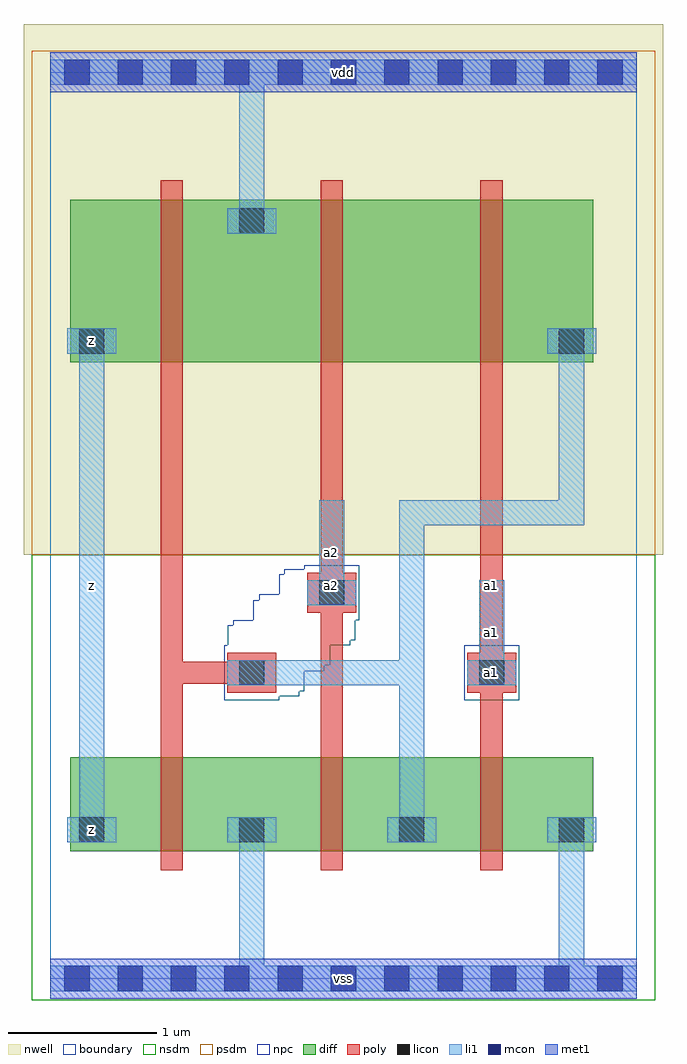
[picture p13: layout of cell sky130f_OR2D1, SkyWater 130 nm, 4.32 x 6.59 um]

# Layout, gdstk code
import gdstk
lib = gdstk.Library(unit=1e-6, precision=1e-09)
def R(c, l, rs):  # rectangles x0, y0, x1, y1
    for r in rs: c.add(gdstk.rectangle(r[:2], r[2:], *l))
def A(c, l, x, y, w, h, nx, ny, dx, dy):  # array of equal rectangles
    R(c, l, [(x+i*dx, y+j*dy, x+i*dx+w, y+j*dy+h) for i in range(nx) for j in range(ny)])
def P(c, l, *ps):  # polygons
    for p in ps: c.add(gdstk.Polygon(p, *l))
L0_0 = (0, 0)
nwell = (64, 20)
diff = (65, 20)
poly = (66, 20)
licon = (66, 44)
li1 = (67, 20)
mcon = (67, 44)
met1 = (68, 20)
nsdm = (93, 44)
psdm = (94, 20)
npc = (95, 20)
boundary = (235, 4)

sky130f_or2d1 = lib.new_cell('sky130f_OR2D1')
R(sky130f_or2d1, nwell, [(-0.18,2.86,4.14,6.445)])
A(sky130f_or2d1, diff, 0.135, 0.86, 1.37, 0.635, 3, 1, 1.08, 0)
A(sky130f_or2d1, diff, 0.135, 0.86, 0.29, 0.29, 4, 1, 1.08, 0)
A(sky130f_or2d1, diff, 0.135, 4.16, 1.37, 1.1, 3, 1, 1.08, 0)
R(sky130f_or2d1, diff, [(0.135,4.16,0.425,4.45), (3.375,4.16,3.665,4.45), (1.215,4.97,1.505,5.26)])
A(sky130f_or2d1, poly, 0.745, 0.73, 0.15, 0.895, 3, 1, 1.08, 0)
A(sky130f_or2d1, poly, 0.745, 4.03, 0.15, 1.36, 3, 1, 1.08, 0)
R(sky130f_or2d1, poly, [(0.745,0.93,0.895,2.14), (1.825,0.93,1.975,4.38), (2.905,0.93,3.055,4.38), (1.195,1.93,1.525,2.2), (2.815,1.93,3.145,2.2), (0.745,1.99,1.435,2.14), (0.745,1.99,0.895,4.38), (1.735,2.47,2.065,2.74)])
A(sky130f_or2d1, licon, 0.195, 0.92, 0.17, 0.17, 4, 1, 1.08, 0)
R(sky130f_or2d1, licon, [(1.275,1.98,1.445,2.15), (2.895,1.98,3.065,2.15), (1.815,2.52,1.985,2.69), (0.195,4.22,0.365,4.39), (3.435,4.22,3.605,4.39), (1.275,5.03,1.445,5.2)])
A(sky130f_or2d1, li1, 0.115, 0.92, 0.33, 0.17, 4, 1, 1.08, 0)
R(sky130f_or2d1, li1, [(0,-0.085,3.96,0.085), (1.275,0.06,1.445,1.09), (3.435,0.06,3.605,1.09), (0.195,0.92,0.365,4.39), (2.355,0.92,2.525,2.15), (1.195,1.98,1.525,2.15), (1.275,1.98,2.525,2.15), (2.355,1.98,2.525,3.23), (2.815,1.98,3.145,2.15), (2.895,1.98,3.065,2.69), (1.735,2.52,2.065,2.69), (1.815,2.52,1.985,3.23), (2.355,3.06,3.605,3.23), (3.435,3.06,3.605,4.39), (0.115,4.22,0.445,4.39), (3.355,4.22,3.685,4.39), (1.195,5.03,1.525,5.2), (1.275,5.03,1.445,6.06), (0,6.035,3.96,6.205)])
A(sky130f_or2d1, mcon, 0.095, -0.085, 0.17, 0.17, 11, 2, 0.36, 6.12)
R(sky130f_or2d1, met1, [(0,-0.135,3.96,0.135), (0,5.985,3.96,6.255)])
R(sky130f_or2d1, nsdm, [(-0.125,-0.145,4.085,0.145), (-0.125,0.145,4.085,2.86)])
R(sky130f_or2d1, psdm, [(-0.125,2.86,4.085,5.975), (-0.125,5.975,4.085,6.265)])
R(sky130f_or2d1, npc, [(2.795,1.88,3.165,2.25)])
P(sky130f_or2d1, npc, [(1.175,1.88),(1.175,2.25),(1.2,2.25),(1.2,2.385),(1.235,2.385),(1.235,2.42),(1.37,2.42),(1.37,2.555),(1.41,2.555),(1.41,2.595),(1.545,2.595),(1.545,2.73),(1.58,2.73),(1.58,2.765),(1.715,2.765),(1.715,2.79),(2.085,2.79),(2.085,2.42),(2.06,2.42),(2.06,2.285),(2.025,2.285),(2.025,2.25),(1.89,2.25),(1.89,2.115),(1.85,2.115),(1.85,2.075),(1.715,2.075),(1.715,1.94),(1.68,1.94),(1.68,1.905),(1.545,1.905),(1.545,1.88)])
R(sky130f_or2d1, boundary, [(0,0,3.96,6.12)])
sky130f_or2d1.add(gdstk.FlexPath([(0.115,0.355),(3.685,0.355)], 0, ends="flush", simple_path=True, layer=0, datatype=0))  # L0_0
sky130f_or2d1.add(gdstk.FlexPath([(0.115,1.005),(3.685,1.005)], 0, ends="flush", simple_path=True, layer=0, datatype=0))  # L0_0
sky130f_or2d1.add(gdstk.FlexPath([(0.115,1.415),(3.685,1.415)], 0, ends="flush", simple_path=True, layer=0, datatype=0))  # L0_0
sky130f_or2d1.add(gdstk.FlexPath([(0.115,2.065),(3.685,2.065)], 0, ends="flush", simple_path=True, layer=0, datatype=0))  # L0_0
sky130f_or2d1.add(gdstk.FlexPath([(0.115,2.605),(3.685,2.605)], 0, ends="flush", simple_path=True, layer=0, datatype=0))  # L0_0
sky130f_or2d1.add(gdstk.FlexPath([(0.115,3.145),(3.685,3.145)], 0, ends="flush", simple_path=True, layer=0, datatype=0))  # L0_0
sky130f_or2d1.add(gdstk.FlexPath([(0.115,4.305),(3.685,4.305)], 0, ends="flush", simple_path=True, layer=0, datatype=0))  # L0_0
sky130f_or2d1.add(gdstk.FlexPath([(0.115,4.775),(3.685,4.775)], 0, ends="flush", simple_path=True, layer=0, datatype=0))  # L0_0
sky130f_or2d1.add(gdstk.FlexPath([(0.115,5.115),(3.685,5.115)], 0, ends="flush", simple_path=True, layer=0, datatype=0))  # L0_0
sky130f_or2d1.add(gdstk.FlexPath([(0.115,5.765),(3.685,5.765)], 0, ends="flush", simple_path=True, layer=0, datatype=0))  # L0_0
sky130f_or2d1.add(gdstk.FlexPath([(0.28,0.06),(0.28,6.06)], 0, ends="flush", simple_path=True, layer=0, datatype=0))  # L0_0
sky130f_or2d1.add(gdstk.FlexPath([(0.82,0.06),(0.82,6.06)], 0, ends="flush", simple_path=True, layer=0, datatype=0))  # L0_0
sky130f_or2d1.add(gdstk.FlexPath([(1.36,0.06),(1.36,6.06)], 0, ends="flush", simple_path=True, layer=0, datatype=0))  # L0_0
sky130f_or2d1.add(gdstk.FlexPath([(1.9,0.06),(1.9,6.06)], 0, ends="flush", simple_path=True, layer=0, datatype=0))  # L0_0
sky130f_or2d1.add(gdstk.FlexPath([(2.44,0.06),(2.44,6.06)], 0, ends="flush", simple_path=True, layer=0, datatype=0))  # L0_0
sky130f_or2d1.add(gdstk.FlexPath([(2.98,0.06),(2.98,6.06)], 0, ends="flush", simple_path=True, layer=0, datatype=0))  # L0_0
sky130f_or2d1.add(gdstk.FlexPath([(3.52,0.06),(3.52,6.06)], 0, ends="flush", simple_path=True, layer=0, datatype=0))  # L0_0
sky130f_or2d1.add(gdstk.Label('z', (0.28,1.005), layer=65, texttype=20))
sky130f_or2d1.add(gdstk.Label('z', (0.28,4.305), layer=65, texttype=20))
sky130f_or2d1.add(gdstk.Label('a1', (2.98,2.655), layer=66, texttype=20))
sky130f_or2d1.add(gdstk.Label('a1', (2.98,2.065), layer=66, texttype=20))
sky130f_or2d1.add(gdstk.Label('a2', (1.9,2.655), layer=66, texttype=20))
sky130f_or2d1.add(gdstk.Label('a2', (1.9,2.605), layer=66, texttype=20))
sky130f_or2d1.add(gdstk.Label('z', (0.28,1.005), layer=66, texttype=44))
sky130f_or2d1.add(gdstk.Label('z', (0.28,4.305), layer=66, texttype=44))
sky130f_or2d1.add(gdstk.Label('a1', (2.98,2.065), layer=66, texttype=44))
sky130f_or2d1.add(gdstk.Label('a2', (1.9,2.605), layer=66, texttype=44))
sky130f_or2d1.add(gdstk.Label('z', (0.28,1.005), layer=67, texttype=5))
sky130f_or2d1.add(gdstk.Label('z', (0.28,4.305), layer=67, texttype=5))
sky130f_or2d1.add(gdstk.Label('z', (0.28,2.655), layer=67, texttype=5))
sky130f_or2d1.add(gdstk.Label('a1', (2.98,2.065), layer=67, texttype=5))
sky130f_or2d1.add(gdstk.Label('a1', (2.98,2.335), layer=67, texttype=5))
sky130f_or2d1.add(gdstk.Label('a2', (1.9,2.605), layer=67, texttype=5))
sky130f_or2d1.add(gdstk.Label('a2', (1.9,2.875), layer=67, texttype=5))
sky130f_or2d1.add(gdstk.Label('vss', (1.98,0), layer=67, texttype=5))
sky130f_or2d1.add(gdstk.Label('vdd', (1.98,6.12), layer=67, texttype=5))
sky130f_or2d1.add(gdstk.Label('vss', (1.98,0), layer=68, texttype=5))
sky130f_or2d1.add(gdstk.Label('vdd', (1.98,6.12), layer=68, texttype=5))

lib.write_gds('sky130f_OR2D1.gds')
